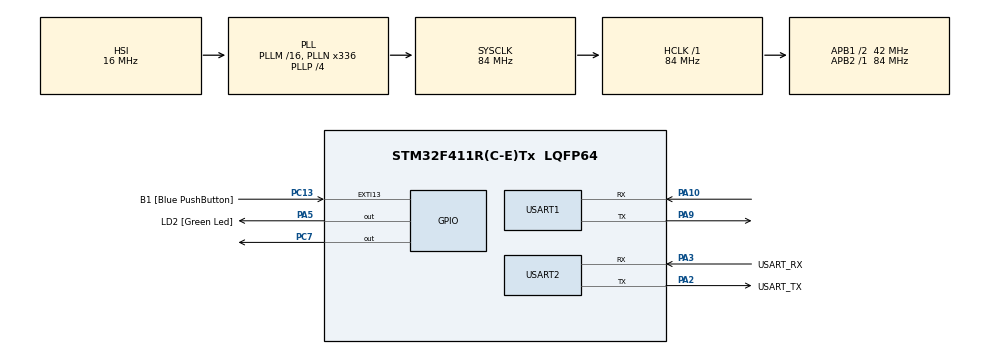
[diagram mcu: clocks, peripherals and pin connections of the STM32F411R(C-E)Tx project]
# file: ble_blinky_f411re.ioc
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Mcu.Family=STM32F4
Mcu.Name=STM32F411R(C-E)Tx
Mcu.Package=LQFP64
NVIC.EXTI15_10_IRQn=true\:0\:0\:false\:false\:true\:true\:true\:true
NVIC.PriorityGroup=NVIC_PRIORITYGROUP_0
NVIC.USART1_IRQn=true\:0\:0\:false\:false\:true\:true\:true\:true
NVIC.USART2_IRQn=true\:0\:0\:false\:false\:true\:true\:true\:true
PA10.Mode=Asynchronous
PA10.Signal=USART1_RX
PA13.GPIO_Label=TMS
PA13.Mode=Serial_Wire
PA13.Signal=SYS_JTMS-SWDIO
PA14.GPIO_Label=TCK
PA14.Mode=Serial_Wire
PA14.Signal=SYS_JTCK-SWCLK
PA2.GPIO_Label=USART_TX
PA2.Mode=Asynchronous
PA2.Signal=USART2_TX
PA3.GPIO_Label=USART_RX
PA3.Mode=Asynchronous
PA3.Signal=USART2_RX
PA5.GPIO_Label=LD2 [Green Led]
PA5.Signal=GPIO_Output
PA9.Mode=Asynchronous
PA9.Signal=USART1_TX
PB3.GPIO_Label=SWO
PB3.Signal=SYS_JTDO-SWO
PC13-ANTI_TAMP.GPIO_Label=B1 [Blue PushButton]
PC13-ANTI_TAMP.GPIO_ModeDefaultEXTI=GPIO_MODE_IT_RISING_FALLING
PC13-ANTI_TAMP.GPIO_PuPd=GPIO_PULLUP
PC13-ANTI_TAMP.Signal=GPXTI13
PC14-OSC32_IN.Mode=LSE-External-Oscillator
PC14-OSC32_IN.Signal=RCC_OSC32_IN
PC15-OSC32_OUT.Mode=LSE-External-Oscillator
PC15-OSC32_OUT.Signal=RCC_OSC32_OUT
PC7.Signal=GPIO_Output
PH0\ -\ OSC_IN.Mode=HSE-External-Clock-Source
PH0\ -\ OSC_IN.Signal=RCC_OSC_IN
PH1\ -\ OSC_OUT.Mode=HSE-External-Clock-Source
PH1\ -\ OSC_OUT.Signal=RCC_OSC_OUT
ProjectManager.HeapSize=0x200
ProjectManager.StackSize=0x400
ProjectManager.TargetToolchain=STM32CubeIDE
RCC.48MHZClocksFreq_Value=84000000
RCC.AHBFreq_Value=84000000
RCC.APB1CLKDivider=RCC_HCLK_DIV2
RCC.APB1Freq_Value=42000000
RCC.APB1TimFreq_Value=84000000
RCC.APB2Freq_Value=84000000
RCC.APB2TimFreq_Value=84000000
RCC.CortexFreq_Value=84000000
RCC.FLatency-AdvancedSettings=FLASH_LATENCY_2
RCC.HCLKFreq_Value=84000000
RCC.HSE_VALUE=8000000
RCC.HSI_VALUE=16000000
RCC.PLLN=336
RCC.PLLP=RCC_PLLP_DIV4
RCC.SYSCLKFreq_VALUE=84000000
RCC.SYSCLKSource=RCC_SYSCLKSOURCE_PLLCLK
RCC.VCOOutputFreq_Value=336000000
USART1.VirtualMode=VM_ASYNC
USART2.VirtualMode=VM_ASYNC
board=NUCLEO-F411RE

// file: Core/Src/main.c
/* USER CODE BEGIN Header */
/**
 ******************************************************************************
 * @file           : main.c
 * @brief          : Main program body
 ******************************************************************************
 * @attention
 *
 * Copyright (c) 2025 STMicroelectronics.
 * All rights reserved.
 *
 * This software is licensed under terms that can be found in the LICENSE file
 * in the root directory of this software component.
 * If no LICENSE file comes with this software, it is provided AS-IS.
 *
 ******************************************************************************
 */
/* USER CODE END Header */
#include "main.h"

/* USER CODE BEGIN Includes */
#include <stdio.h>
#include "sl_boltON.h"
/* USER CODE END Includes */

/* USER CODE BEGIN PM */

// LED on the STM kit
#define LED_PORT  GPIOA
#define LED_PIN   GPIO_PIN_5

// Button on the STM kit
#define BUTTON_PORT   GPIOC
#define BUTTON_PIN    GPIO_PIN_13

// LED on the boltON
#define BOLTON_LED_PORT  GPIOC
#define BOLTON_LED_PIN   GPIO_PIN_7

/* USER CODE END PM */

UART_HandleTypeDef huart1;
UART_HandleTypeDef huart2;

/* USER CODE BEGIN PV */
volatile bool btn_state_changed = false;
volatile bool btn_state = false;
static uint8_t advertising_set_handle = 0xff; // The advertising set handle allocated by the Bluetooth stack
static const uint8_t advertised_name[] = "Blinky Example";
static uint16_t gattdb_session_id;
static uint16_t generic_access_service_handle;
static uint16_t name_characteristic_handle;
static uint16_t blinky_service_handle;
static uint16_t led_control_characteristic_handle;
static uint16_t btn_report_characteristic_handle;
static bool btn_notification_enabled = false;
/* USER CODE END PV */

void SystemClock_Config(void);
static void MX_GPIO_Init(void);
static void MX_USART2_UART_Init(void);
static void MX_USART1_UART_Init(void);
/* USER CODE BEGIN PFP */

void sl_bt_on_event(sl_bt_msg_t *evt);
static void ble_initialize_gatt_db();
void send_button_state_notification();
/* USER CODE END PFP */

int main(void)
{

  /* MCU Configuration--------------------------------------------------------*/

  /* Reset of all peripherals, Initializes the Flash interface and the Systick. */
  HAL_Init();

  /* Configure the system clock */
  SystemClock_Config();

  /* Initialize all configured peripherals */
  MX_GPIO_Init();
  MX_USART2_UART_Init();
  MX_USART1_UART_Init();
  /* USER CODE BEGIN 2 */

  printf("boltON by Silicon Labs - Blinky\n");
  printf("Initializing BLE...\n");
  bool res = sl_bolton_init();
  assert(res);

  /* USER CODE END 2 */

  /* Infinite loop */
  while (1) {

    /* USER CODE BEGIN 3 */
    if (btn_state_changed) {
      btn_state_changed = false;
      send_button_state_notification();
    }

    sl_bolton_process();
  }
  /* USER CODE END 3 */
}

void SystemClock_Config(void)
{
  RCC_OscInitTypeDef RCC_OscInitStruct = { 0 };
  RCC_ClkInitTypeDef RCC_ClkInitStruct = { 0 };

  /** Configure the main internal regulator output voltage
   */
  __HAL_RCC_PWR_CLK_ENABLE();
  __HAL_PWR_VOLTAGESCALING_CONFIG(PWR_REGULATOR_VOLTAGE_SCALE1);

  /** Initializes the RCC Oscillators according to the specified parameters
   * in the RCC_OscInitTypeDef structure.
   */
  RCC_OscInitStruct.OscillatorType = RCC_OSCILLATORTYPE_HSI;
  RCC_OscInitStruct.HSIState = RCC_HSI_ON;
  RCC_OscInitStruct.HSICalibrationValue = RCC_HSICALIBRATION_DEFAULT;
  RCC_OscInitStruct.PLL.PLLState = RCC_PLL_ON;
  RCC_OscInitStruct.PLL.PLLSource = RCC_PLLSOURCE_HSI;
  RCC_OscInitStruct.PLL.PLLM = 16;
  RCC_OscInitStruct.PLL.PLLN = 336;
  RCC_OscInitStruct.PLL.PLLP = RCC_PLLP_DIV4;
  RCC_OscInitStruct.PLL.PLLQ = 4;
  if (HAL_RCC_OscConfig(&RCC_OscInitStruct) != HAL_OK) {
    Error_Handler();
  }

  /** Initializes the CPU, AHB and APB buses clocks
   */
  RCC_ClkInitStruct.ClockType = RCC_CLOCKTYPE_HCLK | RCC_CLOCKTYPE_SYSCLK
                                | RCC_CLOCKTYPE_PCLK1 | RCC_CLOCKTYPE_PCLK2;
  RCC_ClkInitStruct.SYSCLKSource = RCC_SYSCLKSOURCE_PLLCLK;
  RCC_ClkInitStruct.AHBCLKDivider = RCC_SYSCLK_DIV1;
  RCC_ClkInitStruct.APB1CLKDivider = RCC_HCLK_DIV2;
  RCC_ClkInitStruct.APB2CLKDivider = RCC_HCLK_DIV1;

  if (HAL_RCC_ClockConfig(&RCC_ClkInitStruct, FLASH_LATENCY_2) != HAL_OK) {
    Error_Handler();
  }
}

static void MX_USART1_UART_Init(void)
{

  huart1.Instance = USART1;
  huart1.Init.BaudRate = 115200;
  huart1.Init.WordLength = UART_WORDLENGTH_8B;
  huart1.Init.StopBits = UART_STOPBITS_1;
  huart1.Init.Parity = UART_PARITY_NONE;
  huart1.Init.Mode = UART_MODE_TX_RX;
  huart1.Init.HwFlowCtl = UART_HWCONTROL_NONE;
  huart1.Init.OverSampling = UART_OVERSAMPLING_16;
  if (HAL_UART_Init(&huart1) != HAL_OK) {
    Error_Handler();
  }
}

static void MX_USART2_UART_Init(void)
{

  huart2.Instance = USART2;
  huart2.Init.BaudRate = 115200;
  huart2.Init.WordLength = UART_WORDLENGTH_8B;
  huart2.Init.StopBits = UART_STOPBITS_1;
  huart2.Init.Parity = UART_PARITY_NONE;
  huart2.Init.Mode = UART_MODE_TX_RX;
  huart2.Init.HwFlowCtl = UART_HWCONTROL_NONE;
  huart2.Init.OverSampling = UART_OVERSAMPLING_16;
  if (HAL_UART_Init(&huart2) != HAL_OK) {
    Error_Handler();
  }
}

static void MX_GPIO_Init(void)
{
  GPIO_InitTypeDef GPIO_InitStruct = { 0 };

  /* GPIO Ports Clock Enable */
  __HAL_RCC_GPIOC_CLK_ENABLE();
  __HAL_RCC_GPIOH_CLK_ENABLE();
  __HAL_RCC_GPIOA_CLK_ENABLE();
  __HAL_RCC_GPIOB_CLK_ENABLE();

  /*Configure GPIO pin Output Level */
  HAL_GPIO_WritePin(LD2_GPIO_Port, LD2_Pin, GPIO_PIN_RESET);

  /*Configure GPIO pin Output Level */
  HAL_GPIO_WritePin(GPIOC, GPIO_PIN_7, GPIO_PIN_RESET);

  /*Configure GPIO pin : B1_Pin */
  GPIO_InitStruct.Pin = B1_Pin;
  GPIO_InitStruct.Mode = GPIO_MODE_IT_RISING_FALLING;
  GPIO_InitStruct.Pull = GPIO_PULLUP;
  HAL_GPIO_Init(B1_GPIO_Port, &GPIO_InitStruct);

  /*Configure GPIO pin : LD2_Pin */
  GPIO_InitStruct.Pin = LD2_Pin;
  GPIO_InitStruct.Mode = GPIO_MODE_OUTPUT_PP;
  GPIO_InitStruct.Pull = GPIO_NOPULL;
  GPIO_InitStruct.Speed = GPIO_SPEED_FREQ_LOW;
  HAL_GPIO_Init(LD2_GPIO_Port, &GPIO_InitStruct);

  /*Configure GPIO pin : PC7 */
  GPIO_InitStruct.Pin = GPIO_PIN_7;
  GPIO_InitStruct.Mode = GPIO_MODE_OUTPUT_PP;
  GPIO_InitStruct.Pull = GPIO_NOPULL;
  GPIO_InitStruct.Speed = GPIO_SPEED_FREQ_LOW;
  HAL_GPIO_Init(GPIOC, &GPIO_InitStruct);

  /* EXTI interrupt init*/
  HAL_NVIC_SetPriority(EXTI15_10_IRQn, 0, 0);
  HAL_NVIC_EnableIRQ(EXTI15_10_IRQn);

}

/* USER CODE BEGIN 4 */

void HAL_GPIO_EXTI_Callback(uint16_t GPIO_Pin)
{
  if (GPIO_Pin == GPIO_PIN_13) {
    // 200 ms debounce
    static uint32_t last_interrupt_time = 0;
    uint32_t current_time = HAL_GetTick();
    if (current_time - last_interrupt_time > 200) {
      last_interrupt_time = current_time;
      btn_state = !HAL_GPIO_ReadPin(GPIOC, GPIO_PIN_13);
      btn_state_changed = true;
    }
  }
}

void HAL_UART_RxCpltCallback(UART_HandleTypeDef *huart)
{
  if (huart->Instance == BOLTON_UART_INSATNCE) {
    sl_bolton_buffer_received_data(1, &bolton_usart_rx_byte);
    // Restart reception
    HAL_UART_Receive_IT(&BOLTON_UART_HANDLE, &bolton_usart_rx_byte, 1);
  }
}

// printf
int _write(int file, char *data, int len)
{
  HAL_UART_Transmit(&huart2, (uint8_t*)data, len, HAL_MAX_DELAY);
  return len;
}

void set_led_on(bool state)
{
  if (state) {
    HAL_GPIO_WritePin(LED_PORT, LED_PIN, GPIO_PIN_SET);
    HAL_GPIO_WritePin(BOLTON_LED_PORT, BOLTON_LED_PIN, GPIO_PIN_SET);
  } else {
    HAL_GPIO_WritePin(LED_PORT, LED_PIN, GPIO_PIN_RESET);
    HAL_GPIO_WritePin(BOLTON_LED_PORT, BOLTON_LED_PIN, GPIO_PIN_RESET);
  }
}

void send_button_state_notification()
{
  if (!btn_notification_enabled) {
    return;
  }
  sl_status_t sc = sl_bt_gatt_server_notify_all(btn_report_characteristic_handle,
                                                sizeof(btn_state),
                                                (const uint8_t*)&btn_state);
  if (sc == SL_STATUS_OK) {
    printf("Notification sent, button state: %u\n", btn_state);
  }
}

/**************************************************************************//**
 * Bluetooth stack event handler
 * This overrides the default weak implementation
 *
 * @param[in] evt Event coming from the Bluetooth stack
 *****************************************************************************/
void sl_bt_on_event(sl_bt_msg_t *evt)
{
  sl_status_t sc;
  bd_addr address;
  uint8_t address_type;
  uint8_t system_id[8];

  switch (SL_BT_MSG_ID(evt->header)) {
    // -------------------------------
    // This event indicates the device has started and the radio is ready.
    // Do not call any stack command before receiving this boot event!
    case sl_bt_evt_system_boot_id:

      printf("BLE stack booted\n");
      ble_initialize_gatt_db();

      // Extract unique ID from BT Address
      sc = sl_bt_gap_get_identity_address(&address, &address_type);
      assert(sc == SL_STATUS_OK);

      // Pad and reverse unique ID to get System ID
      system_id[0] = address.addr[5];
      system_id[1] = address.addr[4];
      system_id[2] = address.addr[3];
      system_id[3] = address.addr[2];
      system_id[4] = address.addr[1];
      system_id[5] = address.addr[0];
      (void)system_id;
      printf("System identity address: %02x:%02x:%02x:%02x:%02x:%02x\n",
             system_id[0],
             system_id[1],
             system_id[2],
             system_id[3],
             system_id[4],
             system_id[5]);

      // Create an advertising set
      sc = sl_bt_advertiser_create_set(&advertising_set_handle);
      assert(sc == SL_STATUS_OK);

      // Generate data for advertising
      sc = sl_bt_legacy_advertiser_generate_data(advertising_set_handle,
                                                 sl_bt_advertiser_general_discoverable);
      assert(sc == SL_STATUS_OK);

      // Set advertising interval to 100ms
      sc = sl_bt_advertiser_set_timing(
        advertising_set_handle,
        160, // min. adv. interval (milliseconds * 1.6)
        160, // max. adv. interval (milliseconds * 1.6)
        0,   // adv. duration
        0);  // max. num. adv. events
      assert(sc == SL_STATUS_OK);
      // Start advertising and enable connections
      sc = sl_bt_legacy_advertiser_start(advertising_set_handle,
                                         sl_bt_legacy_advertiser_connectable);
      assert(sc == SL_STATUS_OK);
      printf("Started advertising...\n");
      break;

    // -------------------------------
    // This event indicates that a new connection was opened
    case sl_bt_evt_connection_opened_id:
      printf("Connection opened\n");
      break;

    // -------------------------------
    // This event indicates that a connection was closed
    case sl_bt_evt_connection_closed_id:
      printf("Connection closed\n");
      // Generate data for advertising
      sc = sl_bt_legacy_advertiser_generate_data(advertising_set_handle,
                                                 sl_bt_advertiser_general_discoverable);
      assert(sc == SL_STATUS_OK);

      // Restart advertising after client has disconnected
      sc = sl_bt_legacy_advertiser_start(advertising_set_handle,
                                         sl_bt_legacy_advertiser_connectable);
      assert(sc == SL_STATUS_OK);
      printf("Restarted advertising...\n");
      break;

    // -------------------------------
    // This event indicates that the value of an attribute in the local GATT
    // database was changed by a remote GATT client
    case sl_bt_evt_gatt_server_attribute_value_id:
      // Check if the changed characteristic is the LED control
      if (led_control_characteristic_handle == evt->data.evt_gatt_server_attribute_value.attribute) {
        printf("LED control characteristic data received\n");
        // Check the length of the received data
        if (evt->data.evt_gatt_server_attribute_value.value.len == 0) {
          break;
        }
        // Get the received byte
        uint8_t received_data = evt->data.evt_gatt_server_attribute_value.value.data[0];
        // Turn the LED on/off according to the received data
        if (received_data == 0x00) {
          set_led_on(false);
          printf("LED off\n");
        } else if (received_data == 0x01) {
          set_led_on(true);
          printf("LED on\n");
        }
      }
      break;

    // -------------------------------
    // This event is received when a GATT characteristic status changes
    case sl_bt_evt_gatt_server_characteristic_status_id:
      // If the 'Button report' characteristic has been changed
      if (evt->data.evt_gatt_server_characteristic_status.characteristic == btn_report_characteristic_handle) {
        // The client just enabled the notification - send notification of the current button state
        if (evt->data.evt_gatt_server_characteristic_status.client_config_flags & sl_bt_gatt_notification) {
          printf("Button state change notification enabled\n");
          btn_notification_enabled = true;
          //btn_state_change_callback();
        } else {
          printf("Button state change notification disabled\n");
          btn_notification_enabled = false;
        }
      }
      break;

    ///////////////////////////////////////////////////////////////////////////
    // Add additional event handlers here as your application requires!      //
    ///////////////////////////////////////////////////////////////////////////

    // -------------------------------
    // Default event handler
    default:
      printf("BLE event: 0x%lx\n", SL_BT_MSG_ID(evt->header));
      break;
  }
  (void)sc;
}

static void ble_initialize_gatt_db()
{
  sl_status_t sc;
  // Create a new GATT database
  sc = sl_bt_gattdb_new_session(&gattdb_session_id);
  assert(sc == SL_STATUS_OK);

  // Add the Generic Access service to the GATT DB
  const uint8_t generic_access_service_uuid[] = { 0x00, 0x18 };
  sc = sl_bt_gattdb_add_service(gattdb_session_id,
                                sl_bt_gattdb_primary_service,
                                SL_BT_GATTDB_ADVERTISED_SERVICE,
                                sizeof(generic_access_service_uuid),
                                generic_access_service_uuid,
                                &generic_access_service_handle);
  assert(sc == SL_STATUS_OK);

  // Add the Device Name characteristic to the Generic Access service
  // The value of the Device Name characteristic will be advertised
  const sl_bt_uuid_16_t device_name_characteristic_uuid = { .data = { 0x00, 0x2A } };
  sc = sl_bt_gattdb_add_uuid16_characteristic(gattdb_session_id,
                                              generic_access_service_handle,
                                              SL_BT_GATTDB_CHARACTERISTIC_READ,
                                              0x00,
                                              0x00,
                                              device_name_characteristic_uuid,
                                              sl_bt_gattdb_fixed_length_value,
                                              sizeof(advertised_name) - 1,
                                              sizeof(advertised_name) - 1,
                                              advertised_name,
                                              &name_characteristic_handle);
  assert(sc == SL_STATUS_OK);

  // Start the Generic Access service
  sc = sl_bt_gattdb_start_service(gattdb_session_id, generic_access_service_handle);
  assert(sc == SL_STATUS_OK);

  // Add the Blinky service to the GATT DB
  // UUID: de8a5aac-a99b-c315-0c80-60d4cbb51224
  const uuid_128 blinky_service_uuid = {
    .data = { 0x24, 0x12, 0xb5, 0xcb, 0xd4, 0x60, 0x80, 0x0c, 0x15, 0xc3, 0x9b, 0xa9, 0xac, 0x5a, 0x8a, 0xde }
  };
  sc = sl_bt_gattdb_add_service(gattdb_session_id,
                                sl_bt_gattdb_primary_service,
                                SL_BT_GATTDB_ADVERTISED_SERVICE,
                                sizeof(blinky_service_uuid),
                                blinky_service_uuid.data,
                                &blinky_service_handle);
  assert(sc == SL_STATUS_OK);

  // Add the 'LED Control' characteristic to the Blinky service
  // UUID: 5b026510-4088-c297-46d8-be6c736a087a
  const uuid_128 led_control_characteristic_uuid = {
    .data = { 0x7a, 0x08, 0x6a, 0x73, 0x6c, 0xbe, 0xd8, 0x46, 0x97, 0xc2, 0x88, 0x40, 0x10, 0x65, 0x02, 0x5b }
  };
  uint8_t led_char_init_value = 0;
  sc = sl_bt_gattdb_add_uuid128_characteristic(gattdb_session_id,
                                               blinky_service_handle,
                                               SL_BT_GATTDB_CHARACTERISTIC_READ | SL_BT_GATTDB_CHARACTERISTIC_WRITE,
                                               0x00,
                                               0x00,
                                               led_control_characteristic_uuid,
                                               sl_bt_gattdb_fixed_length_value,
                                               1,                               // max length
                                               sizeof(led_char_init_value),     // initial value length
                                               &led_char_init_value,            // initial value
                                               &led_control_characteristic_handle);
  assert(sc == SL_STATUS_OK);

  // Add the 'Button report' characteristic to the Blinky service
  // UUID: 61a885a4-41c3-60d0-9a53-6d652a70d29c
  const uuid_128 btn_report_characteristic_uuid = {
    .data = { 0x9c, 0xd2, 0x70, 0x2a, 0x65, 0x6d, 0x53, 0x9a, 0xd0, 0x60, 0xc3, 0x41, 0xa4, 0x85, 0xa8, 0x61 }
  };
  uint8_t btn_char_init_value = 0;
  sc = sl_bt_gattdb_add_uuid128_characteristic(gattdb_session_id,
                                               blinky_service_handle,
                                               SL_BT_GATTDB_CHARACTERISTIC_READ | SL_BT_GATTDB_CHARACTERISTIC_NOTIFY,
                                               0x00,
                                               0x00,
                                               btn_report_characteristic_uuid,
                                               sl_bt_gattdb_fixed_length_value,
                                               1,                               // max length
                                               sizeof(btn_char_init_value),     // initial value length
                                               &btn_char_init_value,            // initial value
                                               &btn_report_characteristic_handle);
  assert(sc == SL_STATUS_OK);

  // Start the Blinky service
  sc = sl_bt_gattdb_start_service(gattdb_session_id, blinky_service_handle);
  assert(sc == SL_STATUS_OK);

  // Commit the GATT DB changes
  sc = sl_bt_gattdb_commit(gattdb_session_id);
  assert(sc == SL_STATUS_OK);
}

/* USER CODE END 4 */

void Error_Handler(void)
{
  __disable_irq();
  while (1) {
  }
}
